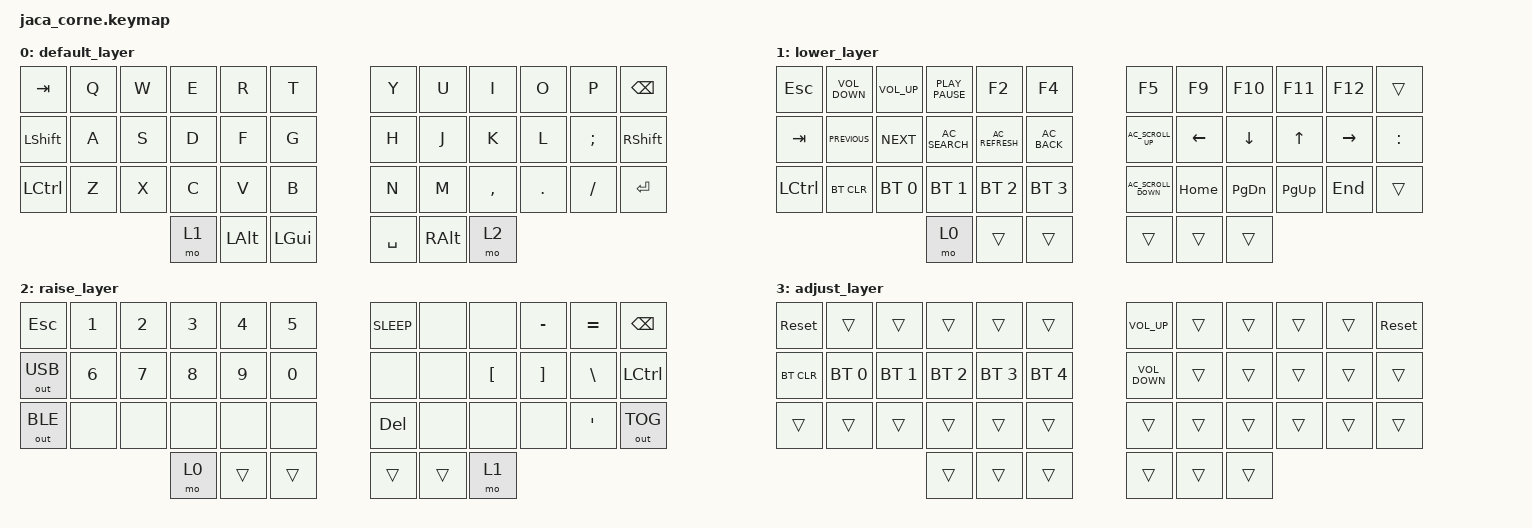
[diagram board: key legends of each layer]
#include <behaviors.dtsi>
#include <dt-bindings/zmk/bt.h>
#include <dt-bindings/zmk/keys.h>
#include <dt-bindings/zmk/outputs.h>

#define QWERTY 0
#define NUMB 1
#define NAVI 2
#define ADJUST 3

&lt {
    tapping-term-ms = <300>;
    quick_tap_ms = <200>;
    flavor = "hold-preferred";
};

/ {
    chosen {
        zmk,matrix_transform = &default_transform;
    };

    behaviors {
        hm: homerow_mods {
            compatible = "zmk,behavior-hold-tap";
            label = "HOMEROW_MODS";
            #binding-cells = <2>;
            tapping-term-ms = <150>;
            quick_tap_ms = <150>;
            flavor = "tap-preferred";
            bindings = <&kp>, <&kp>;
        };
        lm: left_hand_positional_hold_tap {
            compatible = "zmk,behavior-hold-tap";
            label = "LEFT_HOMEROW_MODS";
            #binding-cells = <2>;
            flavor = "tap-unless-interrupted";
            tapping-term-ms = <200>;
            quick-tap-ms = <200>;
            bindings = <&kp>, <&kp>;

            hold-trigger-key-positions = <5 6 7 8 9 15 16 17 18 19 25 26 27 28 29>;
        };
        rm: right_hand_positional_hold_tap {
            compatible = "zmk,behavior-hold-tap";
            label = "RIGHT_HOMEROW_MODS";
            #binding-cells = <2>;
            flavor = "tap-unless-interrupted";
            tapping-term-ms = <200>;
            quick-tap-ms = <200>;
            bindings = <&kp>, <&kp>;

            hold-trigger-key-positions = <0 1 2 3 4 10 11 12 13 14 20 21 22 23 24>;
        };
    };

    keymap {
        compatible = "zmk,keymap";

        default_layer {
            // .--------------------------------------------------------------.       .-----------------------------------------------------------.
            // |   ESC        |    Q    |    W   |   E    |    R    |    T    |       |   Y   |    U    |    I    |    O    |     P    |    \     |
            // |--------------+---------+--------+--------+---------+---------|       |-------+---------+---------+---------+----------+----------|
            // |   CTRL/Tab   |    A    |    S   |   D    |    F    |    G    |       |   H   |    J    |    K    |    L    |     ;    |     '    |
            // |--------------+---------+--------+--------+---------+---------|       |-------+---------+---------+---------+----------+----------|
            // |   SHFT       |    Z    |    X   |   C    |    V    |    B    |       |   N   |    M    |    ,    |    .    |     /    | ` | ALT  |
            // '---------------------------------+--------+---------+---------+       |-------+---------+---------+-------------------------------'
            //                                   |  GUI   |   MO1   |   ENT   |       |  SPC  |   BKSP  |  CAPS   |
            //                                   '--------+---------+---------'       '-------+---------+---------'

// &kp TAB        &kp Q       &kp W      &kp E     &kp R           &kp T   &kp Y  &kp U           &kp I        &kp O     &kp P      &kp LBKT
// &mt LCTRL TAB  &kp A       &kp S      &kp D     &kp F           &kp G   &kp H  &kp J           &kp K        &kp L     &kp SEMI   &kp SQT
 //&kp LSHFT      &kp Z       &kp X      &kp C     &kp V           &kp B   &kp N  &kp M           &kp COMMA    &kp DOT   &kp FSLH   &mt RALT GRAVE
 //               &kp LGUI    &mo 1      &lt NAVI RET              &kp SPACE       &kp BSPC    &kp CAPSLOCK
 
            bindings = <
   &kp TAB        &kp Q       &kp W      &kp E     &kp R           &kp T   &kp Y  &kp U           &kp I        &kp O     &kp P      &kp BACKSPACE
   &kp LSHFT      &kp A       &kp S      &kp D     &kp F           &kp G   &kp H  &kp J           &kp K        &kp L     &kp SEMI   &kp RSHFT
   &kp LCTRL      &kp Z       &kp X      &kp C     &kp V           &kp B   &kp N  &kp M           &kp COMMA    &kp DOT   &kp FSLH   &kp ENTER
                              &mo 1      &kp LALT  &kp LEFT_GUI    &kp SPACE      &kp RIGHT_ALT        &mo 2
            >;
        };

        lower_layer {
            // .--------------------------------------------------------------.       .-----------------------------------------------------------.
            // |   ESC        |    1    |    2   |   3    |    4    |    5    |       |   6   |    7    |    8    |    9    |     0    |    `     |
            // |--------------+---------+--------+--------+---------+---------|       |-------+---------+---------+---------+----------+----------|
            // |              |    !    |    @   |   #    |    $    |    %    |       |   ^   |    &    |    *    |    (    |     )    |     :    |
            // |--------------+---------+--------+--------+---------+---------|       |-------+---------+---------+---------+----------+----------|
            // |   SHFT       |         |    +   |   -    |    {    |    [    |       |   ]   |    }    |    =    |    _    |          |          |
            // '---------------------------------+--------+---------+---------+       |-------+---------+---------+-------------------------------'
            //                                   |  GUI   |         |   MO3   |       |   ,   |    .    |   ?     |
            //                                   '--------+---------+---------'       '-------+---------+---------'

            bindings = <
&kp ESCAPE        &kp C_VOLUME_DOWN  &kp C_VOLUME_UP  &kp K_PLAY_PAUSE  &kp F2            &kp F4                   &kp F5             &kp F9          &kp F10         &kp F11       &kp F12          &trans
&kp TAB           &kp K_PREVIOUS     &kp K_NEXT       &kp C_AC_SEARCH   &kp C_AC_REFRESH  &kp C_AC_BACK            &kp C_AC_SCROLL_UP    &kp LEFT_ARROW  &kp DOWN_ARROW  &kp UP_ARROW  &kp RIGHT_ARROW  &kp COLON
&kp LEFT_CONTROL  &bt BT_CLR         &bt BT_SEL 0     &bt BT_SEL 1      &bt BT_SEL 2      &bt BT_SEL 3             &kp C_AC_SCROLL_DOWN  &kp HOME        &kp PAGE_DOWN   &kp PAGE_UP   &kp END          &trans
                                                      &mo 0             &trans            &trans                   &trans             &trans          &trans
            >;
        };

        raise_layer {
            // .----------------------------------------------------------------.       .-----------------------------------------------------------------.
            // |   CMD+SHIFT+4  |       |   PU   |   UP   |    PD    |   HOME   |       |  HOME   |    PU    |    UP   |   PD    |          | CMD+SHIFT+4 |
            // |----------------+-------+--------+--------+----------+----------|       |---------+----------+---------+---------+----------+-------------|
            // |                |       |  LEFT  |  DOWN  |   RIGHT  |   END    |       |  END    |   LEFT   |   DOWN  |  RIGHT  |          |             |
            // |----------------+-------+--------+--------+----------+----------|       |---------+----------+---------+---------+----------+-------------|
            // |     OUT_TOG    |       |        |        |CTRL+LEFT |CTRL+RIGHT|       |CTRL+LEFT|CTRL+RIGHT|         |         |          |   OUT_TOG   |
            // '---------------------------------+--------+----------+----------+       |---------+----------+---------+----------------------------------'
            //                                   |  GUI   |   MO3    |          |       |         |          |         |
            //                                   '--------+----------+----------'       '---------+----------+---------'

            bindings = <
&kp ESCAPE    &kp NUMBER_1  &kp NUMBER_2  &kp NUMBER_3  &kp NUMBER_4  &kp NUMBER_5            &kp K_SLEEP  &none  &none             &kp MINUS          &kp EQUAL      &kp BACKSPACE
&out OUT_USB  &kp NUMBER_6  &kp NUMBER_7  &kp NUMBER_8  &kp NUMBER_9  &kp NUMBER_0            &none        &none  &kp LEFT_BRACKET  &kp RIGHT_BRACKET  &kp BACKSLASH  &kp LEFT_CONTROL
&out OUT_BLE  &none         &none         &none         &none         &none                   &kp DEL         &none  &none             &none              &kp SQT        &out OUT_TOG
                                          &mo 0         &trans        &trans                  &trans       &trans &mo 1
            >;
        };

        adjust_layer {
            // .--------------------------------------------------------.       .--------------------------------------------------------------.
            // |         |        |        |        |         |         |       |  VOL+  |        |         |         |          |             |
            // |---------+--------+--------+--------+---------+---------|       |--------+--------+---------+---------+----------+-------------|
            // |  BTCLR  |  BT1   |  BT2   |  BT3   |  BT4    |  BT5    |       |  VOL-  |        |         |         |          |             |
            // |---------+--------+--------+--------+---------+---------|       |--------+--------+---------+---------+----------+-------------|
            // |         |        |        |        |         |         |       |        |        |         |         |          |             |
            // '---------------------------+--------+---------+---------+       |--------+--------+---------+----------------------------------'
            //                             |        |         |         |       |        |        |         |
            //                             '--------+---------+---------'       '--------+--------+---------'

            bindings = <
&sys_reset  &trans        &trans        &trans        &trans        &trans                  &kp C_VOLUME_UP    &trans  &trans  &trans  &trans  &sys_reset
&bt BT_CLR  &bt BT_SEL 0  &bt BT_SEL 1  &bt BT_SEL 2  &bt BT_SEL 3  &bt BT_SEL 4            &kp C_VOLUME_DOWN  &trans  &trans  &trans  &trans  &trans
&trans      &trans        &trans        &trans        &trans        &trans                  &trans             &trans  &trans  &trans  &trans  &trans
                                        &trans        &trans        &trans                  &trans             &trans  &trans
            >;
        };
    };
};
